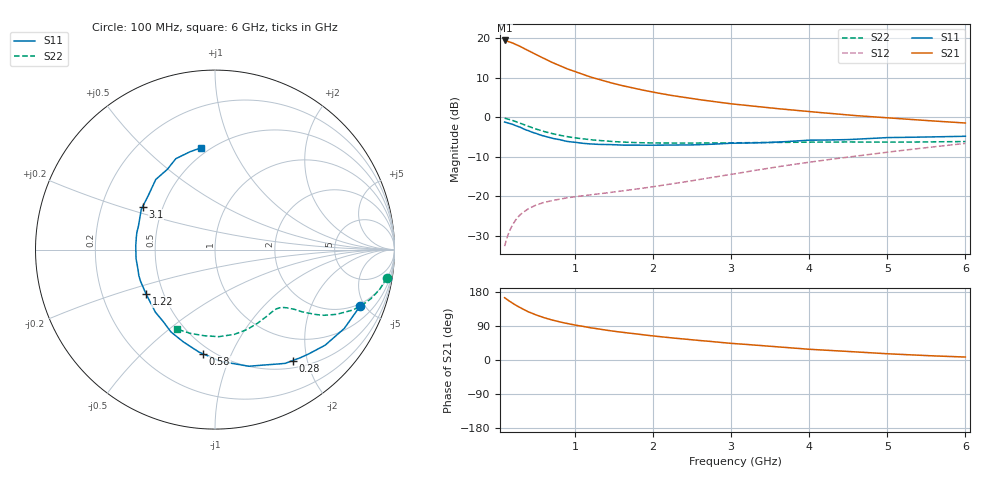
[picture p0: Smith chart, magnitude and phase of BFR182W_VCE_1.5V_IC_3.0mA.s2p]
! Infineon Technologies  Discrete & RF Semiconductors
! BFR182W
! VCE =  1.5 V,  IC =  3.0 mA
! Common Emitter S-Parameters:  Nov 2015
# GHz  S  MA  R  50
!  f  S11  S21  S12  S22
! GHz  MAG  ANG  MAG  ANG  MAG  ANG  MAG  ANG
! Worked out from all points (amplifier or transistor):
!   192 points, 100 MHz to 6 GHz, reference 50 ohm
!   highest |S21| = 19.4 dB at 100 MHz (marker M1)
!   |S21| within 3 dB of that: start of sweep to 446.8 MHz
!   unconditionally stable (mu >= 1): 1.57 GHz to 3.112 GHz
!   at 440 MHz: K = 0.38, MSG = 19.7 dB, |S12| = -22.8 dB
!   at 1.7 GHz: K = 1.03, MAG = 11.9 dB, |S12| = -18.4 dB
!   at 6 GHz: K = 0.78, MSG = 2.6 dB, |S12| = -6.7 dB
!   S11 on the Smith chart (normalised r, x): 100 MHz: 1.84, -4.67; 280 MHz: 0.61, -1.76; 580 MHz: 0.45, -0.79; 1.22 GHz: 0.40, -0.25; 3.1 GHz: 0.39, +0.24; 6 GHz: 0.45, +0.76
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0.1  0.8684 -21.1  9.34 164.4  0.0233 78.2  0.9693 -9.4
0.15  0.8436 -31.4  9.043 156.9  0.0338 73.6  0.9433 -13.7
0.2  0.8128 -40.9  8.697 150.1  0.0431 68.5  0.9107 -17.5
0.24  0.7815 -48.0  8.36 145.0  0.0497 65.0  0.8808 -20.2
0.28  0.7553 -54.9  8.007 140.3  0.0555 62.0  0.852 -22.6
0.3  0.7449 -58.3  7.837 137.9  0.0583 60.7  0.838 -23.7
0.4  0.6768 -73.8  6.994 127.4  0.0689 55.2  0.7678 -28.0
0.5  0.6238 -87.0  6.215 119.1  0.0769 50.9  0.7086 -31.1
0.58  0.585 -96.4  5.676 113.6  0.0818 48.9  0.6696 -32.7
0.7  0.5437 -108.9  4.969 105.9  0.0877 46.8  0.6219 -34.5
0.8  0.5205 -118.1  4.506 100.8  0.0914 46.0  0.5912 -35.7
0.9  0.4931 -126.0  4.093 96.2  0.0953 45.6  0.5665 -36.4
1.1  0.467 -139.7  3.487 88.9  0.1011 46.1  0.5319 -38.1
1.22  0.4567 -147.3  3.177 84.5  0.1047 46.7  0.5151 -39.0
1.4  0.4508 -156.9  2.819 78.8  0.1097 48.1  0.4978 -40.4
1.6  0.4429 -165.8  2.513 73.2  0.1163 50.2  0.4841 -42.0
2.08  0.4421 176.0  2.005 61.9  0.1353 55.4  0.4708 -47.2
2.5  0.4453 163.8  1.713 53.0  0.1567 59.2  0.4702 -52.3
3.1  0.4688 149.2  1.44 42.5  0.1957 62.5  0.4741 -61.5
4.1  0.512 128.3  1.153 27.2  0.2776 61.9  0.4834 -79.3
5.1  0.5525 111.5  0.967 15.6  0.3702 57.2  0.4832 -99.0
6  0.5727 97.8  0.843 7.8  0.465 50.5  0.4911 -115.6
